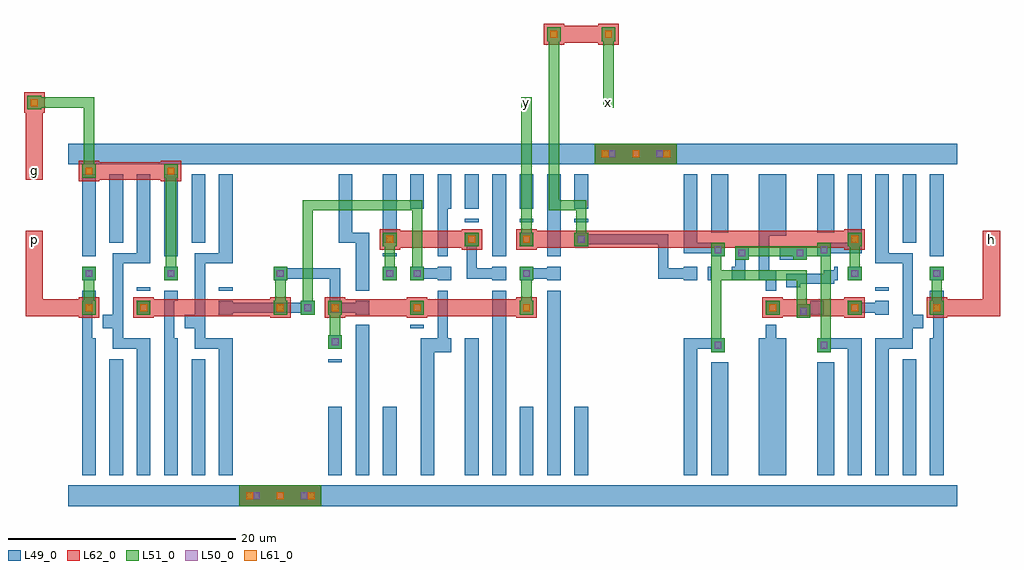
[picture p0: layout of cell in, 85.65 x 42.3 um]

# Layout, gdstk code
from math import pi, radians
import gdstk
lib = gdstk.Library(unit=1e-6, precision=1e-09)
def R(c, l, rs):  # rectangles x0, y0, x1, y1
    for r in rs: c.add(gdstk.rectangle(r[:2], r[2:], *l))
def A(c, l, x, y, w, h, nx, ny, dx, dy):  # array of equal rectangles
    R(c, l, [(x+i*dx, y+j*dy, x+i*dx+w, y+j*dy+h) for i in range(nx) for j in range(ny)])
L49_0 = (49, 0)
L50_0 = (50, 0)
L51_0 = (51, 0)
L61_0 = (61, 0)
L62_0 = (62, 0)

bufx2 = lib.new_cell('BUFX2')
R(bufx2, L49_0, [(-0.6,-0.9,7.8,0.9), (0.6,1.8,1.8,8.7), (3,1.8,4.2,7.8), (5.4,1.8,6.6,9), (0.6,8.7,3.9,9.6), (3,9.6,3.9,14.1), (5.4,9.9,6.6,11.1), (0.6,11.7,1.8,12), (5.4,12,6.6,12.9), (0.6,12.9,1.8,14.1), (5.7,12.9,6.6,16.2), (3,14.1,4.8,15.3), (3,15.3,3.9,16.2), (0.6,16.2,3.9,17.1), (5.4,16.2,6.6,28.2), (0.6,17.1,1.8,28.2), (3,18,4.2,28.2), (-0.6,29.1,7.8,30.9)])
bufx2.add(gdstk.Label('A', (1.2,13.5), layer=49, texttype=0))
bufx2.add(gdstk.Label('gnd', (3.6,0), layer=49, texttype=0))
bufx2.add(gdstk.Label('Y', (6,10.5), layer=49, texttype=0))
bufx2.add(gdstk.Label('vdd', (3.6,30), layer=49, texttype=0))

fill = lib.new_cell('FILL')
R(fill, L49_0, [(-0.6,-0.9,3,0.9), (-0.6,29.1,3,30.9)])
fill.add(gdstk.Label('gnd', (1.2,0), layer=49, texttype=0))
fill.add(gdstk.Label('vdd', (1.2,30), layer=49, texttype=0))

nand2x1 = lib.new_cell('NAND2X1')
R(nand2x1, L49_0, [(-0.6,-0.9,7.8,0.9), (0.6,1.8,1.8,7.8), (4.5,1.8,5.7,6.9), (3,6.9,5.7,7.8), (3,7.8,4.2,12), (0.6,8.7,1.8,9), (0.6,9.9,1.8,11.1), (3,12.9,4.2,14.1), (3,15,4.2,28.2), (5.4,15.9,6.6,17.1), (5.4,18,6.6,18.3), (0.6,22.2,1.8,28.2), (5.4,22.2,6.6,28.2), (-0.6,29.1,7.8,30.9)])
nand2x1.add(gdstk.Label('A', (1.2,10.5), layer=49, texttype=0))
nand2x1.add(gdstk.Label('B', (6,16.5), layer=49, texttype=0))
nand2x1.add(gdstk.Label('gnd', (3.6,0), layer=49, texttype=0))
nand2x1.add(gdstk.Label('Y', (3.6,13.5), layer=49, texttype=0))
nand2x1.add(gdstk.Label('vdd', (3.6,30), layer=49, texttype=0))

nor2x1 = lib.new_cell('NOR2X1')
A(nor2x1, L49_0, 0.6, 1.8, 1.2, 3, 3, 1, 2.4, 0)
R(nor2x1, L49_0, [(-0.6,-0.9,7.8,0.9), (3.3,4.8,4.2,9), (0.6,5.7,1.8,6), (0.6,6.9,1.8,8.1), (3,9.9,4.2,11.1), (3.3,12,4.2,16.2), (5.4,12.9,6.6,14.1), (5.4,15,6.6,15.3), (0.6,16.2,1.8,28.2), (3,16.2,5.7,17.4), (4.5,17.4,5.7,28.2), (-0.6,29.1,7.8,30.9)])
nor2x1.add(gdstk.Label('A', (1.2,7.5), layer=49, texttype=0))
nor2x1.add(gdstk.Label('B', (6,13.5), layer=49, texttype=0))
nor2x1.add(gdstk.Label('gnd', (3.6,0), layer=49, texttype=0))
nor2x1.add(gdstk.Label('Y', (3.6,10.5), layer=49, texttype=0))
nor2x1.add(gdstk.Label('vdd', (3.6,30), layer=49, texttype=0))

invx1 = lib.new_cell('INVX1')
R(invx1, L49_0, [(-0.6,-0.9,5.4,0.9), (0.6,1.8,1.8,4.8), (3,1.8,4.2,9), (0.6,5.7,1.8,6), (0.6,6.9,1.8,8.1), (3,9.9,4.2,11.1), (3,12,4.2,28.2), (0.6,22.2,1.8,28.2), (-0.6,29.1,5.4,30.9)])
invx1.add(gdstk.Label('A', (1.2,7.5), layer=49, texttype=0))
invx1.add(gdstk.Label('gnd', (2.4,0), layer=49, texttype=0))
invx1.add(gdstk.Label('Y', (3.6,10.5), layer=49, texttype=0))
invx1.add(gdstk.Label('vdd', (2.4,30), layer=49, texttype=0))

xor2x1 = lib.new_cell('XOR2X1')
R(xor2x1, L49_0, [(-0.6,-0.9,17.4,0.9), (0.6,1.8,1.8,7.8), (3,1.8,4.5,6.9), (7.2,1.8,9.6,7.2), (12.3,1.8,13.8,6.9), (15,1.8,16.2,7.8), (8.7,7.2,9.6,10.2), (0.6,7.8,4.5,8.7), (12.6,7.8,16.2,8.7), (5.4,8.1,7.8,9.3), (10.5,8.1,11.7,9.3), (3.3,8.7,4.5,9), (12.6,8.7,13.8,9), (10.8,9.3,11.7,9.9), (0.6,9.9,1.8,11.1), (2.7,9.9,3,10.2), (10.8,9.9,12,11.1), (13.8,9.9,14.1,11.1), (15,9.9,16.2,11.1), (2.7,10.2,3.9,10.5), (8.1,10.2,9.6,11.1), (2.7,10.5,7.2,11.1), (3,11.1,7.2,11.4), (8.1,11.1,9,12), (6,11.4,7.2,11.7), (3.9,12.9,5.1,13.2), (7.8,12.9,9,14.1), (3.9,13.2,6.3,14.1), (5.1,14.1,6.3,14.4), (8.1,15,9,16.2), (0.6,16.2,4.5,17.1), (7.2,16.2,9.6,28.2), (12.6,16.2,16.2,17.1), (0.6,17.1,1.8,28.2), (3.3,17.1,4.5,17.4), (12.6,17.1,13.8,17.4), (15,17.1,16.2,28.2), (3,18.3,4.5,28.2), (12.3,18.3,13.8,28.2), (-0.6,29.1,17.4,30.9)])
R(xor2x1, L50_0, [(3.6,8.1,4.2,8.7), (12.9,8.1,13.5,8.7), (5.7,8.4,6.3,9), (10.8,8.4,11.4,9), (5.4,13.5,6,14.1), (3.6,16.5,4.2,17.1), (12.9,16.5,13.5,17.1)])
R(xor2x1, L51_0, [(3.3,7.8,4.5,8.1), (12.6,7.8,13.8,9), (3.3,8.1,11.7,9), (3.3,9,4.2,16.2), (5.4,9,6.6,9.3), (10.5,9,11.7,9.3), (12.9,9,13.8,10.2), (5.4,10.2,13.8,11.1), (5.4,11.1,6.3,13.2), (12.9,11.1,13.8,16.2), (5.1,13.2,6.3,14.4), (3.3,16.2,4.5,17.4), (12.6,16.2,13.8,17.4)])
xor2x1.add(gdstk.Label('A', (1.2,10.5), layer=49, texttype=0))
xor2x1.add(gdstk.Label('B', (15.6,10.5), layer=49, texttype=0))
xor2x1.add(gdstk.Label('gnd', (8.4,0), layer=49, texttype=0))
xor2x1.add(gdstk.Label('Y', (8.4,13.5), layer=49, texttype=0))
xor2x1.add(gdstk.Label('vdd', (8.4,30), layer=49, texttype=0))

c_in = lib.new_cell('in')
R(c_in, L49_0, [(15.6,0.9,22.8,2.1), (23.4,14.4,24.6,15.6), (6.6,17.4,7.8,18.6), (21,17.4,22.2,17.55), (30.6,17.4,31.8,18.6), (61.8,17.4,63,18.6), (69,17.4,70.2,17.55), (13.95,17.55,22.2,18.45), (23.55,17.55,26.85,18.45), (69,17.55,72.45,18.45), (21,18.45,22.2,18.6), (23.55,18.45,24.45,20.55), (69,18.45,70.2,18.6), (1.8,20.4,3,21.6), (9,20.4,10.2,21.6), (18.6,20.4,19.8,20.55), (28.2,20.4,29.4,21.6), (30.6,20.4,31.8,20.55), (40.2,20.4,41.4,20.55), (69,20.4,70.2,21.6), (76.2,20.4,77.4,21.6), (18.6,20.55,24.45,21.45), (30.6,20.55,34.05,21.45), (35.55,20.55,38.85,21.45), (40.2,20.55,43.65,21.45), (52.35,20.55,55.65,21.45), (18.6,21.45,19.8,21.6), (30.6,21.45,31.8,21.6), (35.55,21.45,36.45,23.4), (40.2,21.45,41.4,21.6), (52.35,21.45,53.25,23.55), (35.4,23.4,36.6,24.6), (40.2,23.4,41.4,24.6), (45,23.4,46.2,23.55), (45,23.55,53.25,24.45), (45,24.45,46.2,24.6), (46.8,30.9,54,32.1)])
A(c_in, L50_0, 16.8, 1.2, 0.6, 0.6, 3, 1, 2.1, 0)
A(c_in, L50_0, 9.3, 20.7, 0.6, 0.6, 3, 1, 9.6, 0)
A(c_in, L50_0, 35.7, 23.7, 0.6, 0.6, 3, 1, 4.8, 0)
A(c_in, L50_0, 48, 31.2, 0.6, 0.6, 3, 1, 2.1, 0)
R(c_in, L50_0, [(23.7,14.7,24.3,15.3), (6.9,17.7,7.5,18.3), (21.3,17.7,21.9,18.3), (30.9,17.7,31.5,18.3), (62.1,17.7,62.7,18.3), (69.3,17.7,69.9,18.3), (2.1,20.7,2.7,21.3), (30.9,20.7,31.5,21.3), (40.5,20.7,41.1,21.3), (69.3,20.7,69.9,21.3), (76.5,20.7,77.1,21.3)])
A(c_in, L51_0, 18.6, 17.4, 1.2, 1.2, 3, 1, 2.4, 0)
A(c_in, L51_0, 61.8, 17.4, 1.2, 1.2, 3, 1, 7.2, 0)
A(c_in, L51_0, 9, 20.4, 1.2, 1.2, 3, 1, 9.6, 0)
A(c_in, L51_0, 35.4, 23.4, 1.2, 1.2, 3, 1, 4.8, 0)
R(c_in, L51_0, [(15.6,0.6,22.8,2.4), (23.4,14.4,24.6,15.6), (23.55,15.6,24.45,17.4), (1.8,17.4,3,18.6), (6.6,17.4,7.8,18.6), (30.6,17.4,31.8,18.6), (40.2,17.4,41.4,18.6), (1.95,18.6,2.85,20.4), (18.75,18.6,19.65,20.4), (21.15,18.6,22.05,26.55), (40.35,18.6,41.25,20.4), (76.35,18.6,77.25,20.4), (1.8,20.4,3,21.6), (30.6,20.4,31.8,21.6), (40.2,20.4,41.4,21.6), (69,20.4,70.2,21.6), (76.2,20.4,77.4,21.6), (9.15,21.6,10.05,29.4), (28.35,21.6,29.25,23.4), (30.75,21.6,31.65,26.55), (69.15,21.6,70.05,23.4), (28.2,23.4,29.4,24.6), (69,23.4,70.2,24.6), (40.35,24.6,41.25,36.45), (45.15,24.6,46.05,26.55), (21.15,26.55,31.65,27.45), (42.75,26.55,46.05,27.45), (42.75,27.45,43.65,41.4), (1.8,29.4,3,30.6), (9,29.4,10.2,30.6), (1.95,30.6,2.85,35.55), (46.8,30.6,54,32.4), (-3,35.4,-1.8,35.55), (-3,35.55,2.85,36.45), (47.55,35.55,48.45,41.4), (-3,36.45,-1.8,36.6), (42.6,41.4,43.8,42.6), (47.4,41.4,48.6,42.6)])
A(c_in, L61_0, 16.2, 1.2, 0.6, 0.6, 3, 1, 2.7, 0)
A(c_in, L61_0, 62.1, 17.7, 0.6, 0.6, 3, 1, 7.2, 0)
A(c_in, L61_0, 47.4, 31.2, 0.6, 0.6, 3, 1, 2.7, 0)
R(c_in, L61_0, [(2.1,17.7,2.7,18.3), (6.9,17.7,7.5,18.3), (18.9,17.7,19.5,18.3), (23.7,17.7,24.3,18.3), (30.9,17.7,31.5,18.3), (40.5,17.7,41.1,18.3), (28.5,23.7,29.1,24.3), (35.7,23.7,36.3,24.3), (40.5,23.7,41.1,24.3), (69.3,23.7,69.9,24.3), (2.1,29.7,2.7,30.3), (9.3,29.7,9.9,30.3), (-2.7,35.7,-2.1,36.3), (42.9,41.7,43.5,42.3), (47.7,41.7,48.3,42.3)])
A(c_in, L62_0, 61.5, 17.1, 1.8, 0.15, 3, 2, 7.2, 1.65)
R(c_in, L62_0, [(15.6,0.6,22.8,2.4), (1.5,17.1,3.3,17.25), (6.3,17.1,8.1,17.25), (18.3,17.1,20.1,17.25), (23.1,17.1,24.9,17.25), (30.3,17.1,32.1,17.25), (39.9,17.1,41.7,17.25), (-3.15,17.25,3.3,18.75), (6.3,17.25,20.1,18.75), (23.1,17.25,41.7,18.75), (61.5,17.25,70.5,18.75), (75.9,17.25,82.35,18.75), (-3.15,18.75,-1.65,24.75), (1.5,18.75,3.3,18.9), (6.3,18.75,8.1,18.9), (18.3,18.75,20.1,18.9), (23.1,18.75,24.9,18.9), (30.3,18.75,32.1,18.9), (39.9,18.75,41.7,18.9), (80.85,18.75,82.35,24.75), (27.9,23.1,29.7,23.25), (35.1,23.1,36.9,23.25), (39.9,23.1,41.7,23.25), (68.7,23.1,70.5,23.25), (27.9,23.25,36.9,24.75), (39.9,23.25,70.5,24.75), (27.9,24.75,29.7,24.9), (35.1,24.75,36.9,24.9), (39.9,24.75,41.7,24.9), (68.7,24.75,70.5,24.9), (1.5,29.1,3.3,29.25), (8.7,29.1,10.5,29.25), (-3.15,29.25,-1.65,35.1), (1.5,29.25,10.5,30.75), (46.8,30.6,54,32.4), (1.5,30.75,3.3,30.9), (8.7,30.75,10.5,30.9), (-3.3,35.1,-1.5,36.9), (42.3,41.1,44.1,41.25), (47.1,41.1,48.9,41.25), (42.3,41.25,48.9,42.75), (42.3,42.75,44.1,42.9), (47.1,42.75,48.9,42.9)])
c_in.add(gdstk.Reference(bufx2, (8.4,31.5), rotation=pi))
c_in.add(gdstk.Reference(bufx2, (15.6,31.5), rotation=pi))
c_in.add(gdstk.Reference(fill, (18,31.5), rotation=pi))
c_in.add(gdstk.Reference(fill, (20.4,31.5), rotation=pi))
c_in.add(gdstk.Reference(fill, (22.8,31.5), rotation=pi))
c_in.add(gdstk.Reference(nand2x1, (30,31.5), rotation=pi))
c_in.add(gdstk.Reference(nor2x1, (37.2,31.5), rotation=pi))
c_in.add(gdstk.Reference(invx1, (42,31.5), rotation=pi))
c_in.add(gdstk.Reference(invx1, (46.8,31.5), rotation=pi))
c_in.add(gdstk.Reference(fill, (49.2,31.5), rotation=pi))
c_in.add(gdstk.Reference(fill, (51.6,31.5), rotation=pi))
c_in.add(gdstk.Reference(fill, (54,31.5), rotation=pi))
c_in.add(gdstk.Reference(xor2x1, (70.8,31.5), rotation=pi))
c_in.add(gdstk.Reference(bufx2, (70.8,31.5), x_reflection=True))
c_in.add(gdstk.Label('x', (48,36), layer=51, texttype=0))
c_in.add(gdstk.Label('y', (40.8,36), layer=51, texttype=0))
c_in.add(gdstk.Label('g', (-2.4,30), layer=62, texttype=0))
c_in.add(gdstk.Label('p', (-2.4,24), layer=62, texttype=0))
c_in.add(gdstk.Label('h', (81.6,24), layer=62, texttype=0))

lib.write_gds('in.gds')
